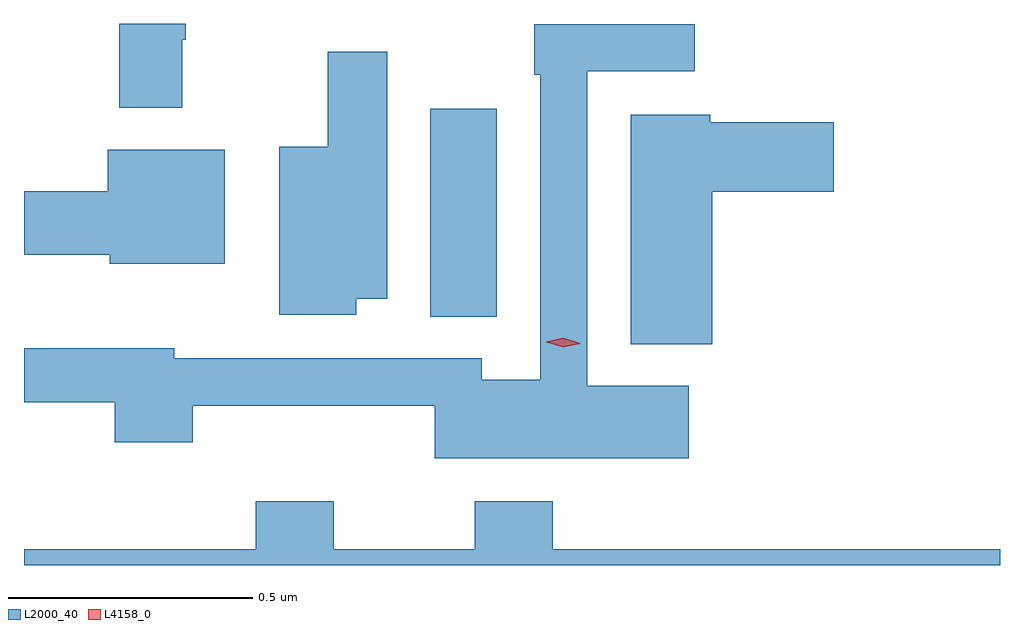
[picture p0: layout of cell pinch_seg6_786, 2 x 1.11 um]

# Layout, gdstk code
import gdstk
lib = gdstk.Library(unit=1e-6, precision=1e-09)
def R(c, l, rs):  # rectangles x0, y0, x1, y1
    for r in rs: c.add(gdstk.rectangle(r[:2], r[2:], *l))
def P(c, l, *ps):  # polygons
    for p in ps: c.add(gdstk.Polygon(p, *l))
L2000_40 = (2000, 40)
L4158_0 = (4158, 0)

pinch_seg6_786 = lib.new_cell('pinch_seg6_786')
R(pinch_seg6_786, L2000_40, [(617.12,916.009,617.257,916.435)])
P(pinch_seg6_786, L2000_40, [(616.612,916.577),(616.619,916.577),(616.619,916.609),(616.483,916.609),(616.483,916.437),(616.612,916.437)],
  [(617.65,915.868),(617.442,915.868),(617.442,916.512),(617.662,916.512),(617.662,916.608),(617.334,916.608),(617.334,916.505),(617.346,916.505),(617.346,915.88),(617.226,915.88),(617.226,915.924),(616.596,915.924),(616.596,915.944),(616.288,915.944),(616.288,915.834),(616.474,915.834),(616.474,915.752),(616.634,915.752),(616.634,915.827),(617.13,915.827),(617.13,915.719),(617.65,915.719)],
  [(616.969,916.046),(617.032,916.046),(617.032,916.552),(616.91,916.552),(616.91,916.357),(616.811,916.357),(616.811,916.013),(616.969,916.013)],
  [(617.698,916.265),(617.947,916.265),(617.947,916.407),(617.694,916.407),(617.694,916.423),(617.531,916.423),(617.531,915.953),(617.698,915.953)],
  [(616.699,916.351),(616.46,916.351),(616.46,916.266),(616.288,916.266),(616.288,916.136),(616.464,916.136),(616.464,916.118),(616.699,916.118)],
  [(618.288,915.532),(617.372,915.532),(617.372,915.631),(617.212,915.631),(617.212,915.532),(616.923,915.532),(616.923,915.631),(616.763,915.631),(616.763,915.532),(616.288,915.532),(616.288,915.5),(618.288,915.5)])
P(pinch_seg6_786, L4158_0, [(617.393,915.946),(617.358,915.957),(617.358,915.957),(617.358,915.958),(617.393,915.966),(617.428,915.955),(617.428,915.955),(617.428,915.954)])

lib.write_gds('pinch_seg6_786.gds')
